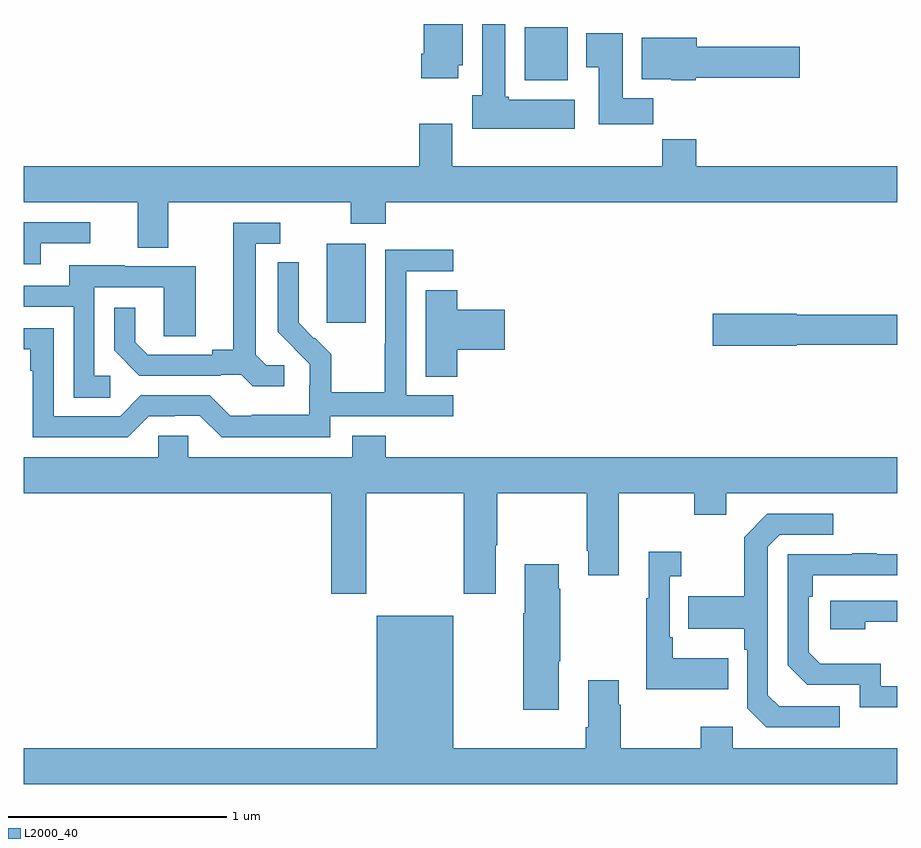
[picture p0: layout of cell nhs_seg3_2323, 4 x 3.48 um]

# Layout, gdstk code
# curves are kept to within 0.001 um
import gdstk
lib = gdstk.Library(unit=1e-6, precision=1e-09)
def R(c, l, rs):  # rectangles x0, y0, x1, y1
    for r in rs: c.add(gdstk.rectangle(r[:2], r[2:], *l))
def P(c, l, *ps):  # polygons
    for p in ps: c.add(gdstk.Polygon(p, *l))
L2000_40 = (2000, 40)

nhs_seg3_2323 = lib.new_cell('nhs_seg3_2323')
R(nhs_seg3_2323, L2000_40, [(232.388,699.033,232.567,699.394), (233.294,700.142,233.491,700.384)])
P(nhs_seg3_2323, L2000_40, [(232.99,700.212),(233.011,700.212),(233.011,700.4),(232.832,700.4),(232.832,700.264),(232.82,700.264),(232.82,700.152),(232.99,700.152)],
  [(233.524,700.054),(233.22,700.054),(233.22,700.068),(233.206,700.068),(233.206,700.4),(233.099,700.4),(233.099,700.074),(233.054,700.074),(233.054,699.92),(233.524,699.92)],
  [(233.882,700.06),(233.743,700.06),(233.743,700.357),(233.576,700.357),(233.576,700.201),(233.633,700.201),(233.633,699.942),(233.882,699.942)],
  [(234.078,700.153),(234.553,700.153),(234.553,700.295),(234.082,700.295),(234.082,700.336),(233.831,700.336),(233.831,700.148),(233.964,700.148),(233.964,700.142),(234.078,700.142)],
  [(231.661,699.584),(232.498,699.584),(232.498,699.485),(232.658,699.485),(232.658,699.584),(235,699.584),(235,699.748),(234.08,699.748),(234.08,699.872),(233.923,699.872),(233.923,699.748),(232.963,699.748),(232.963,699.943),(232.811,699.943),(232.811,699.748),(231,699.748),(231,699.584),(231.521,699.584),(231.521,699.376),(231.661,699.376)],
  [(231.079,699.396),(231.304,699.396),(231.304,699.492),(231,699.492),(231,699.3),(231.079,699.3)],
  [(232.192,698.838),(232.11,698.838),(232.063,698.885),(232.063,699.393),(232.174,699.393),(232.174,699.489),(231.959,699.489),(231.959,698.909),(231.863,698.909),(231.863,698.886),(231.568,698.886),(231.511,698.943),(231.511,699.1),(231.414,699.1),(231.414,698.906),(231.53,698.79),(231.902,698.79),(231.902,698.793),(231.996,698.793),(232.048,698.741),(232.192,698.741)],
  [(232.404,698.604),(232.966,698.604),(232.966,698.7),(232.752,698.7),(232.752,699.267),(232.966,699.267),(232.966,699.366),(232.656,699.366),(232.656,698.936),(232.654,698.936),(232.654,698.713),(232.409,698.713),(232.409,698.887),(232.332,698.964),(232.329,698.961),(232.259,699.032),(232.26,699.308),(232.164,699.308),(232.164,698.99),(232.31,698.842),(232.31,698.745),(232.308,698.745),(232.308,698.611),(232.045,698.611),(232.045,698.607),(231.945,698.607),(231.852,698.7),(231.537,698.7),(231.441,698.604),(231.138,698.604),(231.138,699.006),(231,699.006),(231,698.91),(231.029,698.91),(231.029,698.813),(231.042,698.813),(231.042,698.508),(231.477,698.508),(231.573,698.604),(231.692,698.604),(231.692,698.607),(231.807,698.607),(231.907,698.507),(232.404,698.507)],
  [(231.397,698.79),(231.324,698.79),(231.324,699.195),(231.642,699.195),(231.642,698.971),(231.787,698.971),(231.787,699.291),(231.463,699.291),(231.463,699.295),(231.209,699.295),(231.209,699.201),(231,699.201),(231,699.105),(231.228,699.105),(231.228,698.689),(231.397,698.689)],
  [(232.985,698.909),(233.203,698.909),(233.203,699.092),(232.985,699.092),(232.985,699.182),(232.841,699.182),(232.841,698.785),(232.985,698.785)],
  [(234.54,698.932),(235,698.932),(235,699.068),(234.54,699.068),(234.54,699.074),(234.156,699.074),(234.156,698.927),(234.54,698.927)],
  [(232.569,698.252),(233.014,698.252),(233.014,697.791),(233.161,697.791),(233.161,698.014),(233.169,698.014),(233.169,698.252),(233.578,698.252),(233.578,697.987),(233.585,697.987),(233.585,697.875),(233.725,697.875),(233.725,698.252),(234.07,698.252),(234.07,698.153),(234.217,698.153),(234.217,698.252),(235,698.252),(235,698.416),(232.658,698.416),(232.658,698.515),(232.505,698.515),(232.505,698.416),(231.753,698.416),(231.753,698.514),(231.615,698.514),(231.615,698.416),(231,698.416),(231,698.252),(232.409,698.252),(232.409,697.791),(232.569,697.791)],
  [(234.736,697.275),(234.459,697.275),(234.408,697.326),(234.408,698.007),(234.462,698.061),(234.706,698.061),(234.706,698.157),(234.405,698.157),(234.3,698.051),(234.3,697.779),(234.043,697.779),(234.043,697.631),(234.3,697.631),(234.3,697.535),(234.312,697.535),(234.312,697.266),(234.399,697.179),(234.736,697.179)],
  [(234.227,697.495),(233.971,697.495),(233.971,697.591),(233.958,697.591),(233.958,697.871),(234.01,697.871),(234.01,697.984),(233.861,697.984),(233.861,697.771),(233.85,697.771),(233.85,697.355),(234.227,697.355)],
  [(235,697.368),(234.924,697.368),(234.924,697.471),(234.647,697.471),(234.594,697.524),(234.594,697.778),(234.614,697.778),(234.614,697.875),(235,697.875),(235,697.971),(234.905,697.971),(234.905,697.976),(234.793,697.976),(234.793,697.971),(234.498,697.971),(234.498,697.464),(234.588,697.374),(234.828,697.374),(234.828,697.272),(235,697.272)],
  [(233.449,697.483),(233.457,697.483),(233.457,697.814),(233.449,697.814),(233.449,697.927),(233.294,697.927),(233.294,697.703),(233.287,697.703),(233.287,697.26),(233.449,697.26)],
  [(234.854,697.662),(235,697.662),(235,697.758),(234.693,697.758),(234.693,697.628),(234.854,697.628)],
  [(235,697.084),(234.246,697.084),(234.246,697.183),(234.1,697.183),(234.1,697.084),(233.733,697.084),(233.733,697.283),(233.725,697.283),(233.725,697.396),(233.585,697.396),(233.585,697.18),(233.573,697.18),(233.573,697.084),(232.966,697.084),(232.966,697.69),(232.616,697.69),(232.616,697.084),(231,697.084),(231,696.92),(235,696.92)])

lib.write_gds('nhs_seg3_2323.gds')
